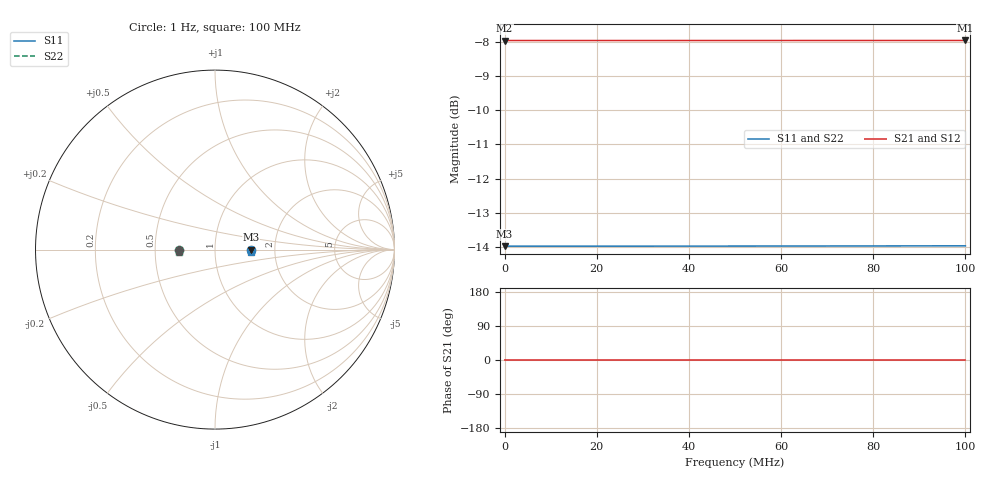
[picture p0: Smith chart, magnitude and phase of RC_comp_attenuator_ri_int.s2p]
# MHz S RI R 50
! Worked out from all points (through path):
!   100 points, 1 Hz to 100 MHz, reference 50 ohm
!   highest |S21| = -7.96 dB at 100 MHz (marker M1); lowest = -8.0 dB at 1 Hz (marker M2)
!   lowest |S11| = -14.0 dB at 1 Hz (marker M3), VSWR 1.50, Z = 75 - j1.96e-08 ohm
!   |S11| at or under -10 dB: start of sweep to end of sweep
!   |S22| runs from -14.0 to -14.0 dB; largest |S21 - S12| = 4.4e-16
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1e-06  0.2 -1.26e-10  0.4 -5.54e-27  0.4 -1.59e-26  -0.2 -2.45e-17
4.040405  0.2 -0.000508  0.4 -1.64e-10  0.4 -1.64e-10  -0.2 -0.000508
9.09091  0.2 -0.00114  0.4 -1.86e-09  0.4 -1.86e-09  -0.2 -0.00114
13.13131  0.2 -0.00165  0.4 -5.62e-09  0.4 -5.62e-09  -0.2 -0.00165
17.17172  0.2 -0.00216  0.4 -1.26e-08  0.4 -1.26e-08  -0.2 -0.00216
21.21212  0.2 -0.00267  0.4 -2.37e-08  0.4 -2.37e-08  -0.2 -0.00267
25.25253  0.2 -0.00317  0.4 -3.99e-08  0.4 -3.99e-08  -0.2 -0.00317
29.29293  0.2 -0.00368  0.4 -6.23e-08  0.4 -6.23e-08  -0.2 -0.00368
33.33333  0.2 -0.00419  0.4 -9.19e-08  0.4 -9.19e-08  -0.2 -0.00419
37.37374  0.2 -0.0047  0.4 -1.29e-07  0.4 -1.29e-07  -0.2 -0.0047
41.41414  0.2 -0.0052  0.4 -1.76e-07  0.4 -1.76e-07  -0.2 -0.0052
46.46465  0.2 -0.00584  0.4 -2.49e-07  0.4 -2.49e-07  -0.2001 -0.00584
50.50505  0.2 -0.00635  0.4 -3.2e-07  0.4 -3.2e-07  -0.2001 -0.00635
54.54545  0.2 -0.00685  0.4 -4.02e-07  0.4 -4.02e-07  -0.2001 -0.00685
58.58586  0.1999 -0.00736  0.4 -4.99e-07  0.4 -4.99e-07  -0.2001 -0.00736
62.62626  0.1999 -0.00787  0.4 -6.09e-07  0.4 -6.09e-07  -0.2001 -0.00787
66.66667  0.1999 -0.00838  0.4 -7.35e-07  0.4 -7.35e-07  -0.2001 -0.00838
74.74747  0.1999 -0.00939  0.4 -1.04e-06  0.4 -1.04e-06  -0.2001 -0.00939
78.78788  0.1999 -0.0099  0.4 -1.21e-06  0.4 -1.21e-06  -0.2001 -0.0099
83.83838  0.1999 -0.0105  0.4001 -1.46e-06  0.4001 -1.46e-06  -0.2002 -0.0105
91.91919  0.1999 -0.0115  0.4001 -1.93e-06  0.4001 -1.93e-06  -0.2002 -0.0115
100  0.1998 -0.0126  0.4001 -2.48e-06  0.4001 -2.48e-06  -0.2002 -0.0126
